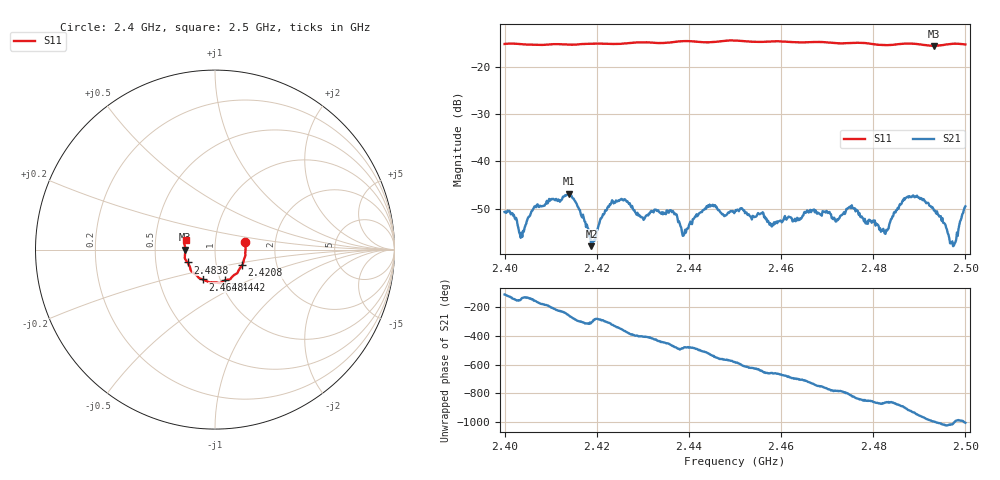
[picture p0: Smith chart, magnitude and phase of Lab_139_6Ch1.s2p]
# Hz S RI R 50
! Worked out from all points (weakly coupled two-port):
!   601 points, 2.4 GHz to 2.5 GHz, reference 50 ohm
!   highest |S21| = -46.82 dB at 2.414 GHz (marker M1); lowest = -57.8 dB at 2.4188 GHz (marker M2)
!   lowest |S11| = -15.6 dB at 2.4932 GHz (marker M3), VSWR 1.40, Z = 35.8 - j0.0864 ohm
!   |S11| at or under -10 dB: start of sweep to end of sweep
!   S12 and S22 are empty: the file has one direction only
!   S11 on the Smith chart (normalised r, x): 2.4 GHz: 1.40, +0.12; 2.4208 GHz: 1.33, -0.24; 2.4442 GHz: 1.05, -0.37; 2.4648 GHz: 0.83, -0.28; 2.4838 GHz: 0.73, -0.11; 2.5 GHz: 0.72, +0.08
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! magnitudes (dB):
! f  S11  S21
! 2.4 GHz  -15.2  -50.6
! 2.4037 GHz  -15.3  -55.0
! 2.4067 GHz  -15.4  -49.6
! 2.414 GHz  -15.4  -46.8
! 2.4167 GHz  -15.3  -51.5
! 2.4188 GHz  -15.2  -57.8
! 2.4208 GHz  -15.2  -52.0
! 2.4255 GHz  -15.2  -47.9
! 2.4298 GHz  -14.9  -51.8
! 2.4333 GHz  -15.0  -50.3
! 2.4368 GHz  -14.8  -51.1
! 2.439 GHz  -14.6  -55.3
! 2.4442 GHz  -14.9  -49.3
! 2.45 GHz  -14.5  -50.6
! 2.4648 GHz  -14.9  -51.4
! 2.4667 GHz  -14.8  -50.3
! 2.4833 GHz  -15.5  -54.1
! 2.4838 GHz  -15.4  -52.2
! 2.4875 GHz  -15.2  -47.4
! 2.4932 GHz  -15.6  -50.3
! 2.4972 GHz  -15.2  -56.8
! 2.5 GHz  -15.3  -49.5
